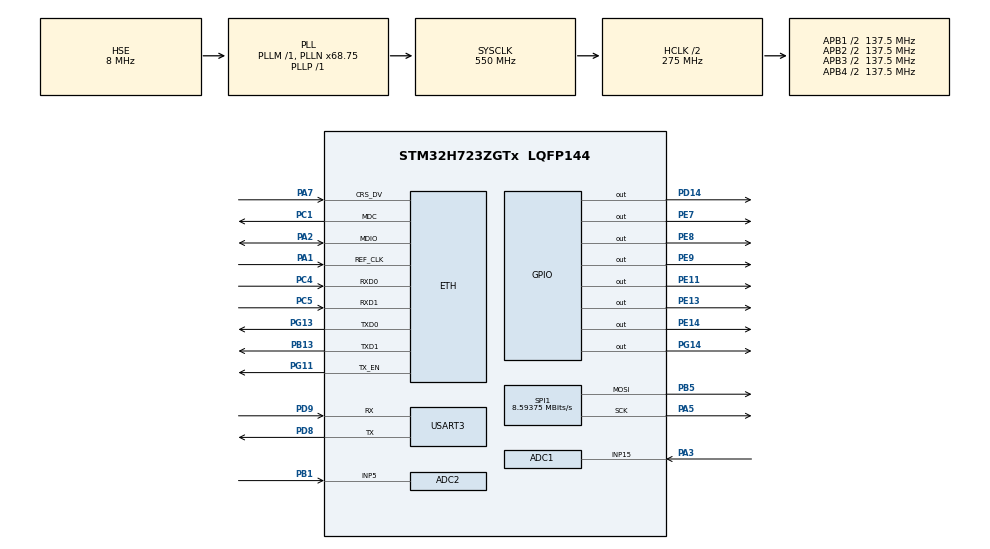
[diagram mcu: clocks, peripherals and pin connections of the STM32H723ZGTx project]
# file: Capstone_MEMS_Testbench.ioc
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ADC1.Channel-7\#ChannelRegularConversion=ADC_CHANNEL_15
ADC1.ConversionDataManagement=ADC_CONVERSIONDATA_DMA_CIRCULAR
ADC1.DMAAccessModeView=ENABLE
ADC1.ExternalTrigConv=ADC_EXTERNALTRIG_T6_TRGO
ADC1.Mode=ADC_DUALMODE_REGSIMULT
ADC1.NbrOfConversionFlag=1
ADC1.OffsetNumber-7\#ChannelRegularConversion=ADC_OFFSET_NONE
ADC1.OffsetSignedSaturation-7\#ChannelRegularConversion=DISABLE
ADC1.Rank-7\#ChannelRegularConversion=1
ADC1.SamplingTime-7\#ChannelRegularConversion=ADC_SAMPLETIME_2CYCLES_5
ADC1.TwoSamplingDelay=ADC_TWOSAMPLINGDELAY_2CYCLES
ADC1.master=1
ADC2.Channel-1\#ChannelRegularConversion=ADC_CHANNEL_5
ADC2.DMAAccessModeView=ENABLE
ADC2.Mode=ADC_DUALMODE_REGSIMULT
ADC2.NbrOfConversion=1
ADC2.NbrOfConversionFlag=1
ADC2.OffsetNumber-1\#ChannelRegularConversion=ADC_OFFSET_NONE
ADC2.OffsetSignedSaturation-1\#ChannelRegularConversion=DISABLE
ADC2.Rank-1\#ChannelRegularConversion=1
ADC2.SamplingTime-1\#ChannelRegularConversion=ADC_SAMPLETIME_2CYCLES_5
ADC2.TwoSamplingDelay=ADC_TWOSAMPLINGDELAY_2CYCLES
CORTEX_M7.AccessPermission_Spec=MPU_REGION_FULL_ACCESS
CORTEX_M7.BaseAddress_Spec=0x30000000
CORTEX_M7.CPU_DCache=Enabled
CORTEX_M7.CPU_ICache=Enabled
CORTEX_M7.Size_Spec=MPU_REGION_SIZE_32KB
CORTEX_M7.SubRegionDisable_Spec=0x0
CORTEX_M7.TypeExtField_Spec=MPU_TEX_LEVEL1
CORTEX_M7.default_mode_Activation=1
Dma.ADC1.0.Direction=DMA_PERIPH_TO_MEMORY
Dma.ADC1.0.EventEnable=DISABLE
Dma.ADC1.0.FIFOMode=DMA_FIFOMODE_DISABLE
Dma.ADC1.0.Instance=DMA1_Stream0
Dma.ADC1.0.MemDataAlignment=DMA_MDATAALIGN_WORD
Dma.ADC1.0.MemInc=DMA_MINC_ENABLE
Dma.ADC1.0.Mode=DMA_CIRCULAR
Dma.ADC1.0.PeriphDataAlignment=DMA_PDATAALIGN_WORD
Dma.ADC1.0.PeriphInc=DMA_PINC_DISABLE
Dma.ADC1.0.Polarity=HAL_DMAMUX_REQ_GEN_RISING
Dma.ADC1.0.Priority=DMA_PRIORITY_HIGH
Dma.ADC1.0.RequestNumber=1
Dma.ADC1.0.SignalID=NONE
Dma.ADC1.0.SyncEnable=DISABLE
Dma.ADC1.0.SyncPolarity=HAL_DMAMUX_SYNC_NO_EVENT
Dma.ADC1.0.SyncRequestNumber=1
Dma.ADC1.0.SyncSignalID=NONE
Dma.Request0=ADC1
ETH.ETH_RX_DESC_CNT=8
ETH.ETH_TX_DESC_CNT=8
ETH.MediaInterface=HAL_ETH_RMII_MODE
LWIP.BSP.number=1
LWIP.ETH_RX_BUFFER_CNT=8
LWIP.GATEWAY_ADDRESS=192.168.000.001
LWIP.IP_ADDRESS=192.168.000.123
LWIP.LWIP_DHCP=0
LWIP.LWIP_RAM_HEAP_POINTER=0x30004000
LWIP.MEM_SIZE=14*1024
LWIP.NETMASK_ADDRESS=255.255.255.000
LWIP.PBUF_POOL_BUFSIZE=1184
LWIP.PBUF_POOL_SIZE=48
LWIP.Version=v2.2.1_Cube
LWIP0.BSP.STBoard=false
LWIP0.BSP.api=BSP_COMPONENT_DRIVER
LWIP0.BSP.component=LAN8742
LWIP0.BSP.instance=LAN8742
LWIP0.BSP.name=Driver_PHY
LWIP0.BSP.semaphore=S_LAN8742
LWIP0.BSP.solution=LAN8742
Mcu.Family=STM32H7
Mcu.Name=STM32H723ZGTx
Mcu.Package=LQFP144
NVIC.DMA1_Stream0_IRQn=true\:0\:0\:false\:false\:true\:false\:true\:true
NVIC.ETH_IRQn=true\:4\:0\:true\:false\:true\:true\:true\:true
NVIC.PriorityGroup=NVIC_PRIORITYGROUP_4
PA1.GPIO_Speed_Default_HIGH=GPIO_SPEED_FREQ_VERY_HIGH
PA1.Mode=RMII
PA1.Signal=ETH_REF_CLK
PA2.GPIO_Speed_Default_HIGH=GPIO_SPEED_FREQ_VERY_HIGH
PA2.Mode=RMII
PA2.Signal=ETH_MDIO
PA3.Signal=ADCx_INP15
PA5.Mode=TX_Only_Simplex_Unidirect_Master
PA5.Signal=SPI1_SCK
PA7.GPIO_Speed_Default_HIGH=GPIO_SPEED_FREQ_VERY_HIGH
PA7.Mode=RMII
PA7.Signal=ETH_CRS_DV
PB1.Signal=ADCx_INP5
PB13.GPIO_Speed_Default_HIGH=GPIO_SPEED_FREQ_VERY_HIGH
PB13.Mode=RMII
PB13.Signal=ETH_TXD1
PB5.Mode=TX_Only_Simplex_Unidirect_Master
PB5.Signal=SPI1_MOSI
PC1.GPIO_Speed_Default_HIGH=GPIO_SPEED_FREQ_VERY_HIGH
PC1.Mode=RMII
PC1.Signal=ETH_MDC
PC4.GPIO_Speed_Default_HIGH=GPIO_SPEED_FREQ_VERY_HIGH
PC4.Mode=RMII
PC4.Signal=ETH_RXD0
PC5.GPIO_Speed_Default_HIGH=GPIO_SPEED_FREQ_VERY_HIGH
PC5.Mode=RMII
PC5.Signal=ETH_RXD1
PD14.Signal=GPIO_Output
PD8.Mode=Asynchronous
PD8.Signal=USART3_TX
PD9.Mode=Asynchronous
PD9.Signal=USART3_RX
PE11.Signal=GPIO_Output
PE13.Signal=GPIO_Output
PE14.PinState=GPIO_PIN_RESET
PE14.Signal=GPIO_Output
PE7.Signal=GPIO_Output
PE8.Signal=GPIO_Output
PE9.Signal=GPIO_Output
PG11.GPIO_Speed_Default_HIGH=GPIO_SPEED_FREQ_VERY_HIGH
PG11.Mode=RMII
PG11.Signal=ETH_TX_EN
PG13.GPIO_Speed_Default_HIGH=GPIO_SPEED_FREQ_VERY_HIGH
PG13.Mode=RMII
PG13.Signal=ETH_TXD0
PG14.Signal=GPIO_Output
PH0-OSC_IN.Mode=HSE-External-Oscillator
PH0-OSC_IN.Signal=RCC_OSC_IN
PH1-OSC_OUT.Mode=HSE-External-Oscillator
PH1-OSC_OUT.Signal=RCC_OSC_OUT
ProjectManager.HeapSize=0x200
ProjectManager.StackSize=0x400
ProjectManager.TargetToolchain=CMake
RCC.ADCFreq_Value=96000000
RCC.APB1Freq_Value=137500000
RCC.APB2Freq_Value=137500000
RCC.APB3Freq_Value=137500000
RCC.APB4Freq_Value=137500000
RCC.CortexFreq_Value=550000000
RCC.D1PPRE=RCC_APB3_DIV2
RCC.D2PPRE1=RCC_APB1_DIV2
RCC.D2PPRE2=RCC_APB2_DIV2
RCC.D3PPRE=RCC_APB4_DIV2
RCC.DIVM1=1
RCC.DIVM2=1
RCC.DIVN1=68
RCC.DIVN2=24
RCC.DIVP1=1
RCC.DIVQ1=4
RCC.HCLKFreq_Value=275000000
RCC.HPRE=RCC_HCLK_DIV2
RCC.HSE_VALUE=8000000
RCC.PLL2FRACN=0
RCC.PLLFRACN=6144
RCC.PLLSourceVirtual=RCC_PLLSOURCE_HSE
RCC.SYSCLKFreq_VALUE=550000000
RCC.SYSCLKSource=RCC_SYSCLKSOURCE_PLLCLK
RCC.USBCLockSelection=RCC_USBCLKSOURCE_HSI48
RCC.USBFreq_Value=48000000
SH.ADCx_INP15.0=ADC1_INP15,IN15-Single-Ended
SH.ADCx_INP5.0=ADC2_INP5,IN5-Single-Ended
SPI1.BaudRatePrescaler=SPI_BAUDRATEPRESCALER_16
SPI1.CLKPolarity=SPI_POLARITY_HIGH
SPI1.CalculateBaudRate=8.59375 MBits/s
SPI1.DataSize=SPI_DATASIZE_8BIT
SPI1.Direction=SPI_DIRECTION_2LINES_TXONLY
SPI1.Mode=SPI_MODE_MASTER
SPI1.NSSPMode=SPI_NSS_PULSE_DISABLE
SPI1.VirtualType=VM_MASTER
TIM6.Period=109
TIM6.Prescaler=0
TIM6.TIM_MasterOutputTrigger=TIM_TRGO_UPDATE
USART3.VirtualMode-Asynchronous=VM_ASYNC
VP_LWIP_VS_Enabled.Mode=Enabled
VP_MEMORYMAP_VS_MEMORYMAP.Mode=CurAppReg
VP_TIM6_VS_ClockSourceINT.Mode=Enable_Timer
board=NUCLEO-H723ZG

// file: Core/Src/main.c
/* USER CODE BEGIN Header */
/**
  ******************************************************************************
  * @file           : main.c
  * @brief          : Main program body
  ******************************************************************************
  * @attention
  *
  * Copyright (c) 2026 STMicroelectronics.
  * All rights reserved.
  *
  * This software is licensed under terms that can be found in the LICENSE file
  * in the root directory of this software component.
  * If no LICENSE file comes with this software, it is provided AS-IS.
  *
  ******************************************************************************
  */
/* USER CODE END Header */
#include "main.h"
#include "lwip.h"

/* USER CODE BEGIN Includes */
#include "stm32h7xx_hal.h"
#include "lwip/udp.h"
#include "lwip/pbuf.h"
#include "stm32h7xx_hal_adc.h"
// #include "stm32h7xx_hal_dac.h"
#include "string.h"
#include <stdlib.h>
#include <stdint.h>
/* USER CODE END Includes */

/* USER CODE BEGIN PD */
#ifdef __GNUC__
#define PUTCHAR_PROTOTYPE int __io_putchar(int ch)
#else
#define PUTCHAR_PROTOTYPE int fputc(int ch, FILE *f)
#endif

#define DDS_CS_GPIO_Port GPIOD
#define DDS_CS_Pin GPIO_PIN_14
#define PE_PR_SEL_GPIO_Port GPIOE
#define PE_PR_SEL_Pin GPIO_PIN_9
#define ACTSRC_GPIO_Port GPIOE
#define ACTSRC_Pin GPIO_PIN_11
#define BNC_ADC_GPIO_Port GPIOE
#define BNC_ADC_Pin GPIO_PIN_14
#define PE_GAIN_A0_GPIO_Port GPIOE
#define PE_GAIN_A0_Pin GPIO_PIN_13
#define PE_GAIN_A1_GPIO_Port GPIOG
#define PE_GAIN_A1_Pin GPIO_PIN_14

#define AD9837_CTRL_B28 0x2000U
#define AD9837_CTRL_RESET 0x0100U
#define AD9837_CTRL_SLEEP1 0x0080U
#define AD9837_FREQ0_REG 0x4000U
#define AD9837_MCLK_HZ 16000000.0 // 16 MHz reference clock for AD9837, adjust if using a different clock source

#define BOARD_MODE_PE 0U
#define BOARD_MODE_PR 1U
#define BOARD_MODE_IDLE 2U

#define ACTUATOR_MODE_NONE 0U
#define ACTUATOR_MODE_DDS 1U
#define ACTUATOR_MODE_FUNCTION_GENERATOR 2U
#define ACTUATOR_MODE_STM32_DAC 3U

#define OUTPUT_MODE_BNC 0U
#define OUTPUT_MODE_ADC 1U
/* USER CODE END PD */

ADC_HandleTypeDef hadc1;
ADC_HandleTypeDef hadc2;
DMA_HandleTypeDef hdma_adc1;

SPI_HandleTypeDef hspi1;

TIM_HandleTypeDef htim6;

UART_HandleTypeDef huart3;

/* USER CODE BEGIN PV */
#define Max_ADC_BUFFER_SIZE 32384 // 128kB buffer, can hold 16384 samples of 2 ADCs (32 bits each)
__attribute__((section(".RAM_D1"), aligned(32)))
uint32_t adc_buffer[Max_ADC_BUFFER_SIZE];
volatile uint32_t active_buffer_size = Max_ADC_BUFFER_SIZE;
volatile uint8_t adc_running = 1;
// volatile uint8_t dac_running = 1;

volatile uint8_t half_ready = 0;
volatile uint8_t full_ready = 0;
volatile uint8_t adc_stream_overrun = 0;

// uint32_t last_send_time = 0;
#define CHUNK_SIZE 368 // number of samples to send in one UDP packet (must be <= active_buffer_size/2)
volatile uint8_t dds_running = 0;
volatile uint32_t dds_frequency_hz = 1000;
volatile uint8_t board_mode = BOARD_MODE_IDLE;
volatile uint8_t actuator_mode = ACTUATOR_MODE_DDS;
static volatile uint8_t output_mode = OUTPUT_MODE_ADC;
volatile uint8_t pe_gain_index = 0;
/* USER CODE END PV */

void SystemClock_Config(void);
void PeriphCommonClock_Config(void);
static void MPU_Config(void);
static void MX_GPIO_Init(void);
static void MX_DMA_Init(void);
static void MX_ADC2_Init(void);
static void MX_TIM6_Init(void);
static void MX_USART3_UART_Init(void);
static void MX_ADC1_Init(void);
static void MX_SPI1_Init(void);
/* USER CODE BEGIN PFP */
void send_adc_data(uint32_t* data, uint32_t length);
/* USER CODE BEGIN PFP */
void udp_receive_callback(void *arg,
                          struct udp_pcb *pcb,
                          struct pbuf *p,
                          const ip_addr_t *addr,
                          u16_t port);

void parse_command(char *cmd);
void send_status_text(const char *text);
void update_adc_buffer_size(uint32_t new_size);
void stop_adc_acquisition(void);
void start_adc_acquisition(void);
void dds_init(void);
void dds_start(void);
void dds_stop(void);
void dds_set_frequency(float freq_hz);
void set_board_mode(uint8_t mode);
void set_actuator_mode(uint8_t mode);
void set_pe_gain(uint8_t gain_index);
void set_output_mode(uint8_t mode);
void enter_idle_state(void);
void process_adc_buffer_range(uint32_t start, uint32_t end);
void process_half_buffer(void);
void process_full_buffer(void);
/* USER CODE END PFP */

/* USER CODE BEGIN 0 */
struct udp_pcb *upcb;
struct udp_pcb *rx_pcb;
ip_addr_t dest_ip;

// #define SINE_SAMPLES 128
// uint16_t sine_table[SINE_SAMPLES];

// void generate_sine_table(void)
// {
//     for(int i = 0; i < SINE_SAMPLES; i++)
//     {
//         float angle = 2.0f * 3.14159265f * i / SINE_SAMPLES;
//         sine_table[i] = (uint16_t)(2048 + 2047 * sinf(angle));
//     }
// }
int __io_putchar(int ch)
{
  /* Place your implementation of fputc here */
  /* e.g. write a character to the USART3 and Loop until the end of transmission */
  HAL_UART_Transmit(&huart3, (uint8_t *)&ch, 1, 10);
  return ch;
}
/* USER CODE END 0 */

int main(void)
{

  /* MPU Configuration--------------------------------------------------------*/
  MPU_Config();

  /* Enable the CPU Cache */

  /* Enable I-Cache---------------------------------------------------------*/
  SCB_EnableICache();

  /* Enable D-Cache---------------------------------------------------------*/
  SCB_EnableDCache();

  /* MCU Configuration--------------------------------------------------------*/

  /* Reset of all peripherals, Initializes the Flash interface and the Systick. */
  HAL_Init();

  /* Configure the system clock */
  SystemClock_Config();

  /* Configure the peripherals common clocks */
  PeriphCommonClock_Config();

  /* Initialize all configured peripherals */
  MX_GPIO_Init();
  MX_DMA_Init();
  MX_ADC2_Init();
  MX_TIM6_Init();
  MX_LWIP_Init();
  MX_USART3_UART_Init();
  MX_ADC1_Init();
  MX_SPI1_Init();
  /* USER CODE BEGIN 2 */
  dds_init();
  HAL_ADC_Start(&hadc2);   // start slave ADC first
  HAL_ADCEx_MultiModeStart_DMA(
      &hadc1,
      (uint32_t*)adc_buffer,
      active_buffer_size
  ); // start master ADC with DMA, this will also trigger the slave ADC conversions

  HAL_TIM_Base_Start(&htim6); // start timer, this will trigger the ADC conversions via the timer TRGO

  // Initialize UDP connection

  upcb = udp_new();
  IP4_ADDR(&dest_ip, 192,168,0,100);   // your PC IP
  if(upcb != NULL)
  {
      udp_connect(upcb, &dest_ip, 5005);
  }
  else
  {
      Error_Handler();
  }
  rx_pcb = udp_new();
  if(rx_pcb != NULL)
  {
      udp_bind(rx_pcb, IP_ADDR_ANY, 5006);
      udp_recv(rx_pcb, udp_receive_callback, NULL);
  }
  else
  {
      Error_Handler();
  }
  /* USER CODE END 2 */

  /* Infinite loop */
  while (1)
  {

    /* USER CODE BEGIN 3 */
    // 1. Handle LwIP tasks (e.g., incoming UDP packets)
    MX_LWIP_Process();
    if (half_ready)
    {
      half_ready = 0;
      process_half_buffer();
    }

    if (full_ready)
    {
      full_ready = 0;
      process_full_buffer();
    }

  }
  /* USER CODE END 3 */
}

void SystemClock_Config(void)
{
  RCC_OscInitTypeDef RCC_OscInitStruct = {0};
  RCC_ClkInitTypeDef RCC_ClkInitStruct = {0};

  /** Supply configuration update enable
  */
  HAL_PWREx_ConfigSupply(PWR_LDO_SUPPLY);

  /** Configure the main internal regulator output voltage
  */
  __HAL_PWR_VOLTAGESCALING_CONFIG(PWR_REGULATOR_VOLTAGE_SCALE0);

  while(!__HAL_PWR_GET_FLAG(PWR_FLAG_VOSRDY)) {}

  /** Initializes the RCC Oscillators according to the specified parameters
  * in the RCC_OscInitTypeDef structure.
  */
  RCC_OscInitStruct.OscillatorType = RCC_OSCILLATORTYPE_HSE;
  RCC_OscInitStruct.HSEState = RCC_HSE_ON;
  RCC_OscInitStruct.PLL.PLLState = RCC_PLL_ON;
  RCC_OscInitStruct.PLL.PLLSource = RCC_PLLSOURCE_HSE;
  RCC_OscInitStruct.PLL.PLLM = 1;
  RCC_OscInitStruct.PLL.PLLN = 68;
  RCC_OscInitStruct.PLL.PLLP = 1;
  RCC_OscInitStruct.PLL.PLLQ = 4;
  RCC_OscInitStruct.PLL.PLLR = 2;
  RCC_OscInitStruct.PLL.PLLRGE = RCC_PLL1VCIRANGE_3;
  RCC_OscInitStruct.PLL.PLLVCOSEL = RCC_PLL1VCOWIDE;
  RCC_OscInitStruct.PLL.PLLFRACN = 6144;
  if (HAL_RCC_OscConfig(&RCC_OscInitStruct) != HAL_OK)
  {
    Error_Handler();
  }

  /** Initializes the CPU, AHB and APB buses clocks
  */
  RCC_ClkInitStruct.ClockType = RCC_CLOCKTYPE_HCLK|RCC_CLOCKTYPE_SYSCLK
                              |RCC_CLOCKTYPE_PCLK1|RCC_CLOCKTYPE_PCLK2
                              |RCC_CLOCKTYPE_D3PCLK1|RCC_CLOCKTYPE_D1PCLK1;
  RCC_ClkInitStruct.SYSCLKSource = RCC_SYSCLKSOURCE_PLLCLK;
  RCC_ClkInitStruct.SYSCLKDivider = RCC_SYSCLK_DIV1;
  RCC_ClkInitStruct.AHBCLKDivider = RCC_HCLK_DIV2;
  RCC_ClkInitStruct.APB3CLKDivider = RCC_APB3_DIV2;
  RCC_ClkInitStruct.APB1CLKDivider = RCC_APB1_DIV2;
  RCC_ClkInitStruct.APB2CLKDivider = RCC_APB2_DIV2;
  RCC_ClkInitStruct.APB4CLKDivider = RCC_APB4_DIV2;

  if (HAL_RCC_ClockConfig(&RCC_ClkInitStruct, FLASH_LATENCY_3) != HAL_OK)
  {
    Error_Handler();
  }
}

void PeriphCommonClock_Config(void)
{
  RCC_PeriphCLKInitTypeDef PeriphClkInitStruct = {0};

  /** Initializes the peripherals clock
  */
  PeriphClkInitStruct.PeriphClockSelection = RCC_PERIPHCLK_ADC;
  PeriphClkInitStruct.PLL2.PLL2M = 1;
  PeriphClkInitStruct.PLL2.PLL2N = 24;
  PeriphClkInitStruct.PLL2.PLL2P = 2;
  PeriphClkInitStruct.PLL2.PLL2Q = 2;
  PeriphClkInitStruct.PLL2.PLL2R = 2;
  PeriphClkInitStruct.PLL2.PLL2RGE = RCC_PLL2VCIRANGE_3;
  PeriphClkInitStruct.PLL2.PLL2VCOSEL = RCC_PLL2VCOWIDE;
  PeriphClkInitStruct.PLL2.PLL2FRACN = 0;
  PeriphClkInitStruct.AdcClockSelection = RCC_ADCCLKSOURCE_PLL2;
  if (HAL_RCCEx_PeriphCLKConfig(&PeriphClkInitStruct) != HAL_OK)
  {
    Error_Handler();
  }
}

static void MX_ADC1_Init(void)
{

  ADC_MultiModeTypeDef multimode = {0};
  ADC_ChannelConfTypeDef sConfig = {0};

  /** Common config
  */
  hadc1.Instance = ADC1;
  hadc1.Init.ClockPrescaler = ADC_CLOCK_ASYNC_DIV1;
  hadc1.Init.Resolution = ADC_RESOLUTION_16B;
  hadc1.Init.ScanConvMode = ADC_SCAN_DISABLE;
  hadc1.Init.EOCSelection = ADC_EOC_SINGLE_CONV;
  hadc1.Init.LowPowerAutoWait = DISABLE;
  hadc1.Init.ContinuousConvMode = DISABLE;
  hadc1.Init.NbrOfConversion = 1;
  hadc1.Init.DiscontinuousConvMode = DISABLE;
  hadc1.Init.ExternalTrigConv = ADC_EXTERNALTRIG_T6_TRGO;
  hadc1.Init.ExternalTrigConvEdge = ADC_EXTERNALTRIGCONVEDGE_RISING;
  hadc1.Init.ConversionDataManagement = ADC_CONVERSIONDATA_DMA_CIRCULAR;
  hadc1.Init.Overrun = ADC_OVR_DATA_PRESERVED;
  hadc1.Init.LeftBitShift = ADC_LEFTBITSHIFT_NONE;
  hadc1.Init.OversamplingMode = DISABLE;
  hadc1.Init.Oversampling.Ratio = 1;
  if (HAL_ADC_Init(&hadc1) != HAL_OK)
  {
    Error_Handler();
  }

  /** Configure the ADC multi-mode
  */
  multimode.Mode = ADC_DUALMODE_REGSIMULT;
  multimode.DualModeData = ADC_DUALMODEDATAFORMAT_32_10_BITS;
  multimode.TwoSamplingDelay = ADC_TWOSAMPLINGDELAY_2CYCLES;
  if (HAL_ADCEx_MultiModeConfigChannel(&hadc1, &multimode) != HAL_OK)
  {
    Error_Handler();
  }

  /** Configure Regular Channel
  */
  sConfig.Channel = ADC_CHANNEL_15;
  sConfig.Rank = ADC_REGULAR_RANK_1;
  sConfig.SamplingTime = ADC_SAMPLETIME_2CYCLES_5;
  sConfig.SingleDiff = ADC_SINGLE_ENDED;
  sConfig.OffsetNumber = ADC_OFFSET_NONE;
  sConfig.Offset = 0;
  sConfig.OffsetSignedSaturation = DISABLE;
  if (HAL_ADC_ConfigChannel(&hadc1, &sConfig) != HAL_OK)
  {
    Error_Handler();
  }

}

static void MX_ADC2_Init(void)
{

  ADC_ChannelConfTypeDef sConfig = {0};

  /** Common config
  */
  hadc2.Instance = ADC2;
  hadc2.Init.ClockPrescaler = ADC_CLOCK_ASYNC_DIV1;
  hadc2.Init.Resolution = ADC_RESOLUTION_16B;
  hadc2.Init.ScanConvMode = ADC_SCAN_DISABLE;
  hadc2.Init.EOCSelection = ADC_EOC_SINGLE_CONV;
  hadc2.Init.LowPowerAutoWait = DISABLE;
  hadc2.Init.ContinuousConvMode = DISABLE;
  hadc2.Init.NbrOfConversion = 1;
  hadc2.Init.DiscontinuousConvMode = DISABLE;
  hadc2.Init.ConversionDataManagement = ADC_CONVERSIONDATA_DR;
  hadc2.Init.Overrun = ADC_OVR_DATA_PRESERVED;
  hadc2.Init.LeftBitShift = ADC_LEFTBITSHIFT_NONE;
  hadc2.Init.OversamplingMode = DISABLE;
  hadc2.Init.Oversampling.Ratio = 1;
  if (HAL_ADC_Init(&hadc2) != HAL_OK)
  {
    Error_Handler();
  }

  /** Configure Regular Channel
  */
  sConfig.Channel = ADC_CHANNEL_5;
  sConfig.Rank = ADC_REGULAR_RANK_1;
  sConfig.SamplingTime = ADC_SAMPLETIME_2CYCLES_5;
  sConfig.SingleDiff = ADC_SINGLE_ENDED;
  sConfig.OffsetNumber = ADC_OFFSET_NONE;
  sConfig.Offset = 0;
  sConfig.OffsetSignedSaturation = DISABLE;
  if (HAL_ADC_ConfigChannel(&hadc2, &sConfig) != HAL_OK)
  {
    Error_Handler();
  }

}

static void MX_SPI1_Init(void)
{

  /* SPI1 parameter configuration*/
  hspi1.Instance = SPI1;
  hspi1.Init.Mode = SPI_MODE_MASTER;
  hspi1.Init.Direction = SPI_DIRECTION_2LINES_TXONLY;
  hspi1.Init.DataSize = SPI_DATASIZE_8BIT;
  hspi1.Init.CLKPolarity = SPI_POLARITY_HIGH;
  hspi1.Init.CLKPhase = SPI_PHASE_1EDGE;
  hspi1.Init.NSS = SPI_NSS_SOFT;
  hspi1.Init.BaudRatePrescaler = SPI_BAUDRATEPRESCALER_16;
  hspi1.Init.FirstBit = SPI_FIRSTBIT_MSB;
  hspi1.Init.TIMode = SPI_TIMODE_DISABLE;
  hspi1.Init.CRCCalculation = SPI_CRCCALCULATION_DISABLE;
  hspi1.Init.CRCPolynomial = 0x0;
  hspi1.Init.NSSPMode = SPI_NSS_PULSE_DISABLE;
  hspi1.Init.NSSPolarity = SPI_NSS_POLARITY_LOW;
  hspi1.Init.FifoThreshold = SPI_FIFO_THRESHOLD_01DATA;
  hspi1.Init.TxCRCInitializationPattern = SPI_CRC_INITIALIZATION_ALL_ZERO_PATTERN;
  hspi1.Init.RxCRCInitializationPattern = SPI_CRC_INITIALIZATION_ALL_ZERO_PATTERN;
  hspi1.Init.MasterSSIdleness = SPI_MASTER_SS_IDLENESS_00CYCLE;
  hspi1.Init.MasterInterDataIdleness = SPI_MASTER_INTERDATA_IDLENESS_00CYCLE;
  hspi1.Init.MasterReceiverAutoSusp = SPI_MASTER_RX_AUTOSUSP_DISABLE;
  hspi1.Init.MasterKeepIOState = SPI_MASTER_KEEP_IO_STATE_DISABLE;
  hspi1.Init.IOSwap = SPI_IO_SWAP_DISABLE;
  if (HAL_SPI_Init(&hspi1) != HAL_OK)
  {
    Error_Handler();
  }

}

static void MX_TIM6_Init(void)
{

  TIM_MasterConfigTypeDef sMasterConfig = {0};

  htim6.Instance = TIM6;
  htim6.Init.Prescaler = 0;
  htim6.Init.CounterMode = TIM_COUNTERMODE_UP;
  htim6.Init.Period = 109;
  htim6.Init.AutoReloadPreload = TIM_AUTORELOAD_PRELOAD_DISABLE;
  if (HAL_TIM_Base_Init(&htim6) != HAL_OK)
  {
    Error_Handler();
  }
  sMasterConfig.MasterOutputTrigger = TIM_TRGO_UPDATE;
  sMasterConfig.MasterSlaveMode = TIM_MASTERSLAVEMODE_DISABLE;
  if (HAL_TIMEx_MasterConfigSynchronization(&htim6, &sMasterConfig) != HAL_OK)
  {
    Error_Handler();
  }

}

static void MX_USART3_UART_Init(void)
{

  huart3.Instance = USART3;
  huart3.Init.BaudRate = 115200;
  huart3.Init.WordLength = UART_WORDLENGTH_8B;
  huart3.Init.StopBits = UART_STOPBITS_1;
  huart3.Init.Parity = UART_PARITY_NONE;
  huart3.Init.Mode = UART_MODE_TX_RX;
  huart3.Init.HwFlowCtl = UART_HWCONTROL_NONE;
  huart3.Init.OverSampling = UART_OVERSAMPLING_16;
  huart3.Init.OneBitSampling = UART_ONE_BIT_SAMPLE_DISABLE;
  huart3.Init.ClockPrescaler = UART_PRESCALER_DIV1;
  huart3.AdvancedInit.AdvFeatureInit = UART_ADVFEATURE_NO_INIT;
  if (HAL_UART_Init(&huart3) != HAL_OK)
  {
    Error_Handler();
  }
  if (HAL_UARTEx_SetTxFifoThreshold(&huart3, UART_TXFIFO_THRESHOLD_1_8) != HAL_OK)
  {
    Error_Handler();
  }
  if (HAL_UARTEx_SetRxFifoThreshold(&huart3, UART_RXFIFO_THRESHOLD_1_8) != HAL_OK)
  {
    Error_Handler();
  }
  if (HAL_UARTEx_DisableFifoMode(&huart3) != HAL_OK)
  {
    Error_Handler();
  }

}

static void MX_DMA_Init(void)
{

  /* DMA controller clock enable */
  __HAL_RCC_DMA1_CLK_ENABLE();

  /* DMA interrupt init */
  /* DMA1_Stream0_IRQn interrupt configuration */
  HAL_NVIC_SetPriority(DMA1_Stream0_IRQn, 0, 0);
  HAL_NVIC_EnableIRQ(DMA1_Stream0_IRQn);

}

static void MX_GPIO_Init(void)
{
  GPIO_InitTypeDef GPIO_InitStruct = {0};

  /* GPIO Ports Clock Enable */
  __HAL_RCC_GPIOH_CLK_ENABLE();
  __HAL_RCC_GPIOC_CLK_ENABLE();
  __HAL_RCC_GPIOA_CLK_ENABLE();
  __HAL_RCC_GPIOB_CLK_ENABLE();
  __HAL_RCC_GPIOE_CLK_ENABLE();
  __HAL_RCC_GPIOD_CLK_ENABLE();
  __HAL_RCC_GPIOG_CLK_ENABLE();

  /*Configure GPIO pin Output Level */
  HAL_GPIO_WritePin(GPIOE, GPIO_PIN_7|GPIO_PIN_8|GPIO_PIN_9|GPIO_PIN_11
                          |GPIO_PIN_13|GPIO_PIN_14, GPIO_PIN_RESET);

  /*Configure GPIO pin Output Level */
  HAL_GPIO_WritePin(GPIOD, GPIO_PIN_14, GPIO_PIN_RESET);

  /*Configure GPIO pin Output Level */
  HAL_GPIO_WritePin(GPIOG, GPIO_PIN_14, GPIO_PIN_RESET);

  /*Configure GPIO pins : PE7 PE8 PE9 PE11
                           PE13 PE14 */
  GPIO_InitStruct.Pin = GPIO_PIN_7|GPIO_PIN_8|GPIO_PIN_9|GPIO_PIN_11
                          |GPIO_PIN_13|GPIO_PIN_14;
  GPIO_InitStruct.Mode = GPIO_MODE_OUTPUT_PP;
  GPIO_InitStruct.Pull = GPIO_NOPULL;
  GPIO_InitStruct.Speed = GPIO_SPEED_FREQ_LOW;
  HAL_GPIO_Init(GPIOE, &GPIO_InitStruct);

  /*Configure GPIO pin : PD14 */
  GPIO_InitStruct.Pin = GPIO_PIN_14;
  GPIO_InitStruct.Mode = GPIO_MODE_OUTPUT_PP;
  GPIO_InitStruct.Pull = GPIO_NOPULL;
  GPIO_InitStruct.Speed = GPIO_SPEED_FREQ_LOW;
  HAL_GPIO_Init(GPIOD, &GPIO_InitStruct);

  /*Configure GPIO pin : PG14 */
  GPIO_InitStruct.Pin = GPIO_PIN_14;
  GPIO_InitStruct.Mode = GPIO_MODE_OUTPUT_PP;
  GPIO_InitStruct.Pull = GPIO_NOPULL;
  GPIO_InitStruct.Speed = GPIO_SPEED_FREQ_LOW;
  HAL_GPIO_Init(GPIOG, &GPIO_InitStruct);

}

/* USER CODE BEGIN 4 */
void dds_write_word(uint16_t word)
{
    uint8_t tx[2];

    tx[0] = (uint8_t)((word >> 8) & 0xFF);
    tx[1] = (uint8_t)(word & 0xFF);

    HAL_GPIO_WritePin(DDS_CS_GPIO_Port, DDS_CS_Pin, GPIO_PIN_RESET);
    HAL_SPI_Transmit(&hspi1, tx, 2, HAL_MAX_DELAY);
    HAL_GPIO_WritePin(DDS_CS_GPIO_Port, DDS_CS_Pin, GPIO_PIN_SET);
}

void dds_apply_frequency_word(uint32_t freq_word)
{
    uint16_t lsb_word = AD9837_FREQ0_REG | (uint16_t)(freq_word & 0x3FFFU);
    uint16_t msb_word = AD9837_FREQ0_REG | (uint16_t)((freq_word >> 14) & 0x3FFFU);

    dds_write_word(AD9837_CTRL_B28 | AD9837_CTRL_RESET);
    dds_write_word(lsb_word);
    dds_write_word(msb_word);

    if (dds_running)
    {
        dds_write_word(AD9837_CTRL_B28);
    }
    else
    {
        dds_write_word(AD9837_CTRL_B28 | AD9837_CTRL_RESET | AD9837_CTRL_SLEEP1);
    }
}

void dds_init(void)
{
    HAL_GPIO_WritePin(DDS_CS_GPIO_Port, DDS_CS_Pin, GPIO_PIN_SET);
    dds_running = 0;
    dds_apply_frequency_word(0);
    dds_set_frequency((float)dds_frequency_hz);
}

void dds_start(void)
{
    dds_running = 1;
    dds_set_frequency((float)dds_frequency_hz);
}

void dds_stop(void)
{
    dds_running = 0;
    dds_write_word(AD9837_CTRL_B28 | AD9837_CTRL_RESET | AD9837_CTRL_SLEEP1);
}

void dds_set_frequency(float freq_hz)
{
    if (freq_hz < 0.0f)
    {
        return;
    }

    double tuning = ((double)freq_hz * 268435456.0) / AD9837_MCLK_HZ;
    if (tuning < 0.0)
    {
        tuning = 0.0;
    }
    if (tuning > 268435455.0)
    {
        tuning = 268435455.0;
    }

    dds_frequency_hz = (uint32_t)(freq_hz + 0.5f);
    dds_apply_frequency_word((uint32_t)(tuning + 0.5));
}

void set_board_mode(uint8_t mode)
{
    board_mode = mode;

    if (mode == BOARD_MODE_PR)
    {
        HAL_GPIO_WritePin(PE_PR_SEL_GPIO_Port, PE_PR_SEL_Pin, GPIO_PIN_SET);
        HAL_GPIO_WritePin(GPIOE, GPIO_PIN_7, GPIO_PIN_SET); // TURN ON LED OF PR MODE, OFF IN PE MODE
        HAL_GPIO_WritePin(GPIOE, GPIO_PIN_8, GPIO_PIN_RESET); // TURN OFF LED OF PE MODE, ON IN PR MODE
    }
    else if (mode == BOARD_MODE_PE)
    {
        board_mode = BOARD_MODE_PE;
        HAL_GPIO_WritePin(PE_PR_SEL_GPIO_Port, PE_PR_SEL_Pin, GPIO_PIN_RESET);
        HAL_GPIO_WritePin(GPIOE, GPIO_PIN_7, GPIO_PIN_RESET); // TURN OFF LED OF PR MODE, ON IN PE MODE
        HAL_GPIO_WritePin(GPIOE, GPIO_PIN_8, GPIO_PIN_SET); // TURN ON LED OF PE MODE, OFF IN PR MODE
    }
    else
    {
        board_mode = BOARD_MODE_IDLE;
        HAL_GPIO_WritePin(PE_PR_SEL_GPIO_Port, PE_PR_SEL_Pin, GPIO_PIN_RESET);
        HAL_GPIO_WritePin(GPIOE, GPIO_PIN_7, GPIO_PIN_RESET);
        HAL_GPIO_WritePin(GPIOE, GPIO_PIN_8, GPIO_PIN_RESET);
    }
}

void set_actuator_mode(uint8_t mode)
{
    actuator_mode = mode;

    switch (mode)
    {
        case ACTUATOR_MODE_FUNCTION_GENERATOR:
            HAL_GPIO_WritePin(ACTSRC_GPIO_Port, ACTSRC_Pin, GPIO_PIN_SET);
            // HAL_GPIO_WritePin(BNC_ADC_GPIO_Port, BNC_ADC_Pin, GPIO_PIN_SET);
            break;

        case ACTUATOR_MODE_DDS:
            HAL_GPIO_WritePin(ACTSRC_GPIO_Port, ACTSRC_Pin, GPIO_PIN_RESET);
            // HAL_GPIO_WritePin(BNC_ADC_GPIO_Port, BNC_ADC_Pin, GPIO_PIN_RESET);
            break;

        case ACTUATOR_MODE_STM32_DAC:
        default:
            actuator_mode = ACTUATOR_MODE_STM32_DAC;
            HAL_GPIO_WritePin(ACTSRC_GPIO_Port, ACTSRC_Pin, GPIO_PIN_RESET);
            // HAL_GPIO_WritePin(BNC_ADC_GPIO_Port, BNC_ADC_Pin, GPIO_PIN_RESET);
            break;
    }
}

void set_output_mode(uint8_t mode)
{
    if (mode == OUTPUT_MODE_ADC)
    {
        output_mode = OUTPUT_MODE_ADC;
        HAL_GPIO_WritePin(BNC_ADC_GPIO_Port, BNC_ADC_Pin, GPIO_PIN_SET);
    }
    else
    {
        output_mode = OUTPUT_MODE_BNC;
        HAL_GPIO_WritePin(BNC_ADC_GPIO_Port, BNC_ADC_Pin, GPIO_PIN_RESET);
    }
}

void set_pe_gain(uint8_t gain_index)
{
    uint8_t d3_state;
    uint8_t d2_state;

    if (gain_index > 3U)
    {
        return;
    }

    pe_gain_index = gain_index;
    d3_state = (uint8_t)((gain_index >> 1) & 0x01U);
    d2_state = (uint8_t)(gain_index & 0x01U);

    HAL_GPIO_WritePin(
        PE_GAIN_A0_GPIO_Port,
        PE_GAIN_A0_Pin,
        d3_state ? GPIO_PIN_SET : GPIO_PIN_RESET
    );
    HAL_GPIO_WritePin(
        PE_GAIN_A1_GPIO_Port,
        PE_GAIN_A1_Pin,
        d2_state ? GPIO_PIN_SET : GPIO_PIN_RESET
    );
}

void enter_idle_state(void)
{
    if (adc_running != 0U)
    {
        stop_adc_acquisition();
    }

    dds_stop();
    set_actuator_mode(ACTUATOR_MODE_STM32_DAC);
    set_pe_gain(0U);
    set_board_mode(BOARD_MODE_IDLE);
    half_ready = 0U;
    full_ready = 0U;
    adc_stream_overrun = 0U;
}

void stop_adc_acquisition(void)
{
    HAL_TIM_Base_Stop(&htim6);
    HAL_ADCEx_MultiModeStop_DMA(&hadc1);
    HAL_ADC_Stop(&hadc2);
    adc_running = 0;
}

void start_adc_acquisition(void)
{
    HAL_Delay(1);  // Add a small delay
    HAL_ADC_Start(&hadc2);   // restart slave ADC
    HAL_ADCEx_MultiModeStart_DMA(
        &hadc1,
        (uint32_t*)adc_buffer,
        active_buffer_size
    );
    HAL_TIM_Base_Start(&htim6);
    adc_running = 1;
}
void update_buffer_size(uint32_t new_size)
{
    if(new_size < 512 || new_size > Max_ADC_BUFFER_SIZE)
        return;

    if ((new_size % (2U * CHUNK_SIZE)) != 0U)
        return;

    if(adc_running == 1)
    {

        stop_adc_acquisition();
    }
    active_buffer_size = new_size;
    half_ready = 0;
    full_ready = 0;
    adc_stream_overrun = 0;
}
void update_adc_sampling_rate(uint32_t fs)
{
    if(fs < 1000 || fs > 3000000)
        return;

    uint32_t pclk = HAL_RCC_GetPCLK1Freq();
    uint32_t timer_clk = ((RCC->D2CFGR & RCC_D2CFGR_D2PPRE1) != 0) ? (pclk * 2) : pclk;

    uint32_t period = (timer_clk / fs) - 1;
    if(period > 0xFFFF)
        return;

    uint8_t was_running = adc_running;

    if(was_running)
        stop_adc_acquisition();

    __HAL_TIM_SET_AUTORELOAD(&htim6, period);
    __HAL_TIM_SET_COUNTER(&htim6, 0);

    if(was_running)
        start_adc_acquisition();
}
void update_adc_resolution(uint32_t bits)
{
    if(bits != 10 && bits != 12 && bits != 14 && bits != 16)
        return;

    uint32_t res;
    switch(bits)
    {
        case 10: res = ADC_RESOLUTION_10B; break;
        case 12: res = ADC_RESOLUTION_12B; break;
        case 14: res = ADC_RESOLUTION_14B; break;
        case 16: res = ADC_RESOLUTION_16B; break;
        default: return;
    }

    uint8_t was_running = adc_running;

    if(was_running)
        stop_adc_acquisition();

    HAL_ADC_DeInit(&hadc1);
    HAL_ADC_DeInit(&hadc2);

    hadc1.Init.Resolution = res;
    hadc2.Init.Resolution = res;

    if (HAL_ADC_Init(&hadc1) != HAL_OK)
        Error_Handler();

    if (HAL_ADC_Init(&hadc2) != HAL_OK)
        Error_Handler();

    ADC_MultiModeTypeDef multimode = {0};
    multimode.Mode = ADC_DUALMODE_REGSIMULT;
    multimode.DualModeData = ADC_DUALMODEDATAFORMAT_32_10_BITS;
    multimode.TwoSamplingDelay = ADC_TWOSAMPLINGDELAY_1CYCLE;

    if (HAL_ADCEx_MultiModeConfigChannel(&hadc1, &multimode) != HAL_OK)
        Error_Handler();

    ADC_ChannelConfTypeDef sConfig = {0};

    sConfig.Channel = ADC_CHANNEL_15;
    sConfig.Rank = ADC_REGULAR_RANK_1;
    sConfig.SamplingTime = ADC_SAMPLETIME_2CYCLES_5;
    sConfig.SingleDiff = ADC_SINGLE_ENDED;
    sConfig.OffsetNumber = ADC_OFFSET_NONE;
    sConfig.Offset = 0;
    sConfig.OffsetSignedSaturation = DISABLE;

    if (HAL_ADC_ConfigChannel(&hadc1, &sConfig) != HAL_OK)
        Error_Handler();

    sConfig.Channel = ADC_CHANNEL_5;
    sConfig.Rank = ADC_REGULAR_RANK_1;
    sConfig.SamplingTime = ADC_SAMPLETIME_2CYCLES_5;
    sConfig.SingleDiff = ADC_SINGLE_ENDED;
    sConfig.OffsetNumber = ADC_OFFSET_NONE;
    sConfig.Offset = 0;
    sConfig.OffsetSignedSaturation = DISABLE;

    if (HAL_ADC_ConfigChannel(&hadc2, &sConfig) != HAL_OK)
        Error_Handler();

    /* keep stopped until Start ADC is pressed */
}
void udp_receive_callback(void *arg,
                          struct udp_pcb *pcb,
                          struct pbuf *p,
                          const ip_addr_t *addr,
                          u16_t port)
{
    if(p != NULL)
    {
        char buffer[64];

        uint16_t len = (p->len < 63) ? p->len : 63;
        memcpy(buffer,p->payload,len);
        buffer[len] = '\0';

        if (addr != NULL && upcb != NULL)
        {
            udp_disconnect(upcb);
            udp_connect(upcb, addr, 5005);
        }

        parse_command(buffer);

        pbuf_free(p);
    }
}
void parse_command(char *cmd)
{
    if(strcmp(cmd, "BOARD?") == 0)
    {
        send_status_text("BOARD,Nucleo H723ZG\n");
    }
    else if(strncmp(cmd,"BUF",3)==0)
    {
        uint32_t size;

        sscanf(cmd,"BUF,%lu",&size);

        update_buffer_size(size);
    }
    else if(strncmp(cmd,"ADC SAMP",8)==0)
    {
        uint32_t fs;

        sscanf(cmd,"ADC SAMP,%lu",&fs);

        update_adc_sampling_rate(fs);
    }
    else if(strncmp(cmd,"START",5)==0)
    {
        if(adc_running == 0)
          {
            start_adc_acquisition();
          }
    }
    else if(strncmp(cmd,"STOP",4)==0)
    {
        if(adc_running == 1)
          {
            stop_adc_acquisition();

          }
    }
    else if (strncmp(cmd, "ADC RES", 7) == 0)
    {
        uint32_t bits;
        sscanf(cmd, "ADC RES,%lu", &bits);
        update_adc_resolution(bits);
    }
    else if (strncmp(cmd, "DAC START", 9) == 0)
    {
        dds_start();
    }
    else if (strncmp(cmd, "DAC STOP", 8) == 0)
    {
        dds_stop();
    }
    else if (strncmp(cmd, "DAC FREQ,", 9) == 0)
    {
        dds_set_frequency((float)strtod(&cmd[9], NULL));
    }
    else if (strncmp(cmd, "DDS FREQ,", 9) == 0)
    {
        dds_set_frequency((float)strtod(&cmd[9], NULL));
    }
    else if (strncmp(cmd, "MODE,PE", 7) == 0)
    {
        set_board_mode(BOARD_MODE_PE);
    }
    else if (strncmp(cmd, "MODE,PR", 7) == 0)
    {
        set_board_mode(BOARD_MODE_PR);
    }
    else if ((strncmp(cmd, "MODE,IDLE", 9) == 0) || (strncmp(cmd, "MODE,NONE", 9) == 0))
    {
        enter_idle_state();
    }
    else if (strncmp(cmd, "ACTUATOR,DDS", 12) == 0)
    {
        set_actuator_mode(ACTUATOR_MODE_DDS);
    }
    else if (strncmp(cmd, "ACTUATOR,FG", 11) == 0)
    {
        set_actuator_mode(ACTUATOR_MODE_FUNCTION_GENERATOR);
    }
    else if (strncmp(cmd, "ACTUATOR,STM32", 14) == 0)
    {
        set_actuator_mode(ACTUATOR_MODE_STM32_DAC);
    }
    else if (strcmp(cmd, "OUTPUT?") == 0)
    {
        send_status_text((output_mode == OUTPUT_MODE_ADC) ? "OUTPUT,ADC\n" : "OUTPUT,BNC\n");
    }
    else if ((strcmp(cmd, "OUTPUT,BNC") == 0) || (strcmp(cmd, "BNC") == 0))
    {
        set_output_mode(OUTPUT_MODE_BNC);
    }
    else if (strcmp(cmd, "OUTPUT,ADC") == 0)
    {
        set_output_mode(OUTPUT_MODE_ADC);
    }
    else if (strncmp(cmd, "PE GAIN", 7) == 0)
    {
        uint32_t gain_index = 0U;
        if (sscanf(cmd, "PE GAIN,%lu", &gain_index) == 1)
        {
            set_pe_gain((uint8_t)gain_index);
        }
    }
}

void send_status_text(const char *text)
{
    struct pbuf *p;
    size_t len;

    if ((upcb == NULL) || (text == NULL))
    {
        return;
    }

    len = strlen(text);
    if (len == 0U)
    {
        return;
    }

    p = pbuf_alloc(PBUF_TRANSPORT, (u16_t)len, PBUF_RAM);
    if (p == NULL)
    {
        return;
    }

    memcpy(p->payload, text, len);
    udp_send(upcb, p);
    pbuf_free(p);
}
void send_adc_data(uint32_t* data, uint32_t length)
{
    // struct pbuf *p;

    // p = pbuf_alloc(PBUF_TRANSPORT, length * sizeof(uint32_t), PBUF_RAM);
    // if(p != NULL && upcb != NULL)
    // {
    //     memcpy(p->payload, data, length * sizeof(uint32_t));
    //     udp_send(upcb, p);
    //     pbuf_free(p);
    // }
 // To avoid the overhead of copying data into the pbuf, we can use PBUF_REF and point it directly to our ADC buffer. This is more efficient but requires that we ensure the data remains valid until the pbuf is sent.
    struct pbuf *p;
    p = pbuf_alloc(PBUF_TRANSPORT, 0, PBUF_REF);
    if(p != NULL && upcb != NULL)
    {
        p->payload = (void*)data;
        p->len = length * sizeof(uint32_t);
        p->tot_len = p->len;
        SCB_InvalidateDCache_by_Addr((uint32_t*)data, p->len);
        udp_send(upcb, p);

        pbuf_free(p);
    }
}

void process_adc_buffer_range(uint32_t start, uint32_t end)
{
    if ((upcb == NULL) || (end > active_buffer_size) || (start >= end))
    {
        return;
    }

    for (uint32_t i = start; i < end; i += CHUNK_SIZE)
    {
        send_adc_data(&adc_buffer[i], CHUNK_SIZE);
        MX_LWIP_Process();
    }
}

void process_half_buffer(void)
{
    process_adc_buffer_range(0U, active_buffer_size / 2U);
}

void process_full_buffer(void)
{
    process_adc_buffer_range(active_buffer_size / 2U, active_buffer_size);
}

/* Triggered when the first half of DMA buffer is ready */
void HAL_ADC_ConvHalfCpltCallback(ADC_HandleTypeDef* hadc)
{
    if (hadc->Instance == ADC1)
    {
        if (half_ready != 0U)
            adc_stream_overrun = 1U;

        half_ready = 1U;
    }
}

/* Triggered when the second half of DMA buffer is ready */
void HAL_ADC_ConvCpltCallback(ADC_HandleTypeDef* hadc)
{
    if (hadc->Instance == ADC1)
    {
        if (full_ready != 0U)
            adc_stream_overrun = 1U;

        full_ready = 1U;
    }
}

/* USER CODE END 4 */

 /* MPU Configuration */

void MPU_Config(void)
{
  MPU_Region_InitTypeDef MPU_InitStruct = {0};

  /* Disables the MPU */
  HAL_MPU_Disable();

  /** Initializes and configures the Region and the memory to be protected
  */
  MPU_InitStruct.Enable = MPU_REGION_ENABLE;
  MPU_InitStruct.Number = MPU_REGION_NUMBER0;
  MPU_InitStruct.BaseAddress = 0x30000000;
  MPU_InitStruct.Size = MPU_REGION_SIZE_32KB;
  MPU_InitStruct.SubRegionDisable = 0x0;
  MPU_InitStruct.TypeExtField = MPU_TEX_LEVEL1;
  MPU_InitStruct.AccessPermission = MPU_REGION_FULL_ACCESS;
  MPU_InitStruct.DisableExec = MPU_INSTRUCTION_ACCESS_DISABLE;
  MPU_InitStruct.IsShareable = MPU_ACCESS_SHAREABLE;
  MPU_InitStruct.IsCacheable = MPU_ACCESS_NOT_CACHEABLE;
  MPU_InitStruct.IsBufferable = MPU_ACCESS_NOT_BUFFERABLE;

  HAL_MPU_ConfigRegion(&MPU_InitStruct);
  /* Enables the MPU */
  HAL_MPU_Enable(MPU_PRIVILEGED_DEFAULT);

}

void Error_Handler(void)
{
  __disable_irq();
  while (1)
  {
  }
}
